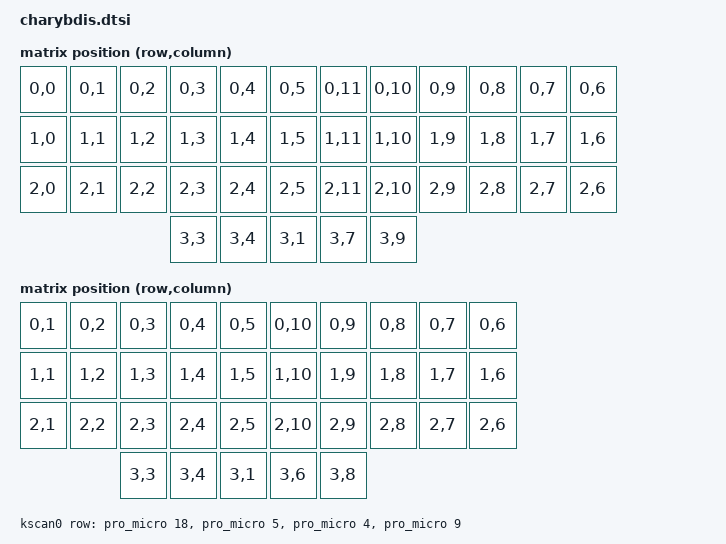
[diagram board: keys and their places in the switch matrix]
#include <dt-bindings/zmk/matrix_transform.h>

/ {
    chosen {
        zmk,kscan = &kscan0;
        zmk,matrix_transform = &default_transform;
    }; 

    vbatt: vbatt {
	compatible = "zmk,battery-nrf-vddh";
    };
          
    default_transform: keymap_transform_0 {
        compatible = "zmk,matrix-transform";
        columns = <12>;
        rows = <4>;

        map = <
	RC(0,0) RC(0,1) RC(0,2) RC(0,3) RC(0,4) RC(0,5)  RC(0,11) RC(0,10) RC(0,9) RC(0,8) RC(0,7) RC(0,6)
	RC(1,0) RC(1,1) RC(1,2) RC(1,3) RC(1,4) RC(1,5)  RC(1,11) RC(1,10) RC(1,9) RC(1,8) RC(1,7) RC(1,6)
	RC(2,0) RC(2,1) RC(2,2) RC(2,3) RC(2,4) RC(2,5)  RC(2,11) RC(2,10) RC(2,9) RC(2,8) RC(2,7) RC(2,6)
							RC(3,3) RC(3,4) RC(3,1)  RC(3,7)  RC(3,9)
        >;
    };

    five_column_transform: keymap_transform_1 {
        compatible = "zmk,matrix-transform";
        columns = <10>;
        rows = <4>;

        map = <
	RC(0,1) RC(0,2) RC(0,3) RC(0,4) RC(0,5)  RC(0,10) RC(0,9) RC(0,8) RC(0,7) RC(0,6)
	RC(1,1) RC(1,2) RC(1,3) RC(1,4) RC(1,5)  RC(1,10) RC(1,9) RC(1,8) RC(1,7) RC(1,6)
	RC(2,1) RC(2,2) RC(2,3) RC(2,4) RC(2,5)  RC(2,10) RC(2,9) RC(2,8) RC(2,7) RC(2,6)
					RC(3,3) RC(3,4) RC(3,1)  RC(3,6)  RC(3,8)
        >;
    };
	
    kscan0: kscan {
        compatible = "zmk,kscan-gpio-matrix";
        label = "KSCAN";

        /* Switch chatter protection: aged mechanical switches bounce.
         * A key press only latches after 10 ms of continuous closure,
         * and a release only after 15 ms of continuous opening, so a
         * chatter burst shorter than that does not register as an extra
         * key stroke. Raise these values if double presses persist. */
        debounce-press-ms = <10>;
        debounce-release-ms = <15>;

        diode-direction = "row2col";
		row-gpios
			= <&pro_micro 18 GPIO_ACTIVE_HIGH>
			, <&pro_micro 5 GPIO_ACTIVE_HIGH>
			, <&pro_micro 4 GPIO_ACTIVE_HIGH>
			, <&pro_micro 9 GPIO_ACTIVE_HIGH>
            ;
    };
};
